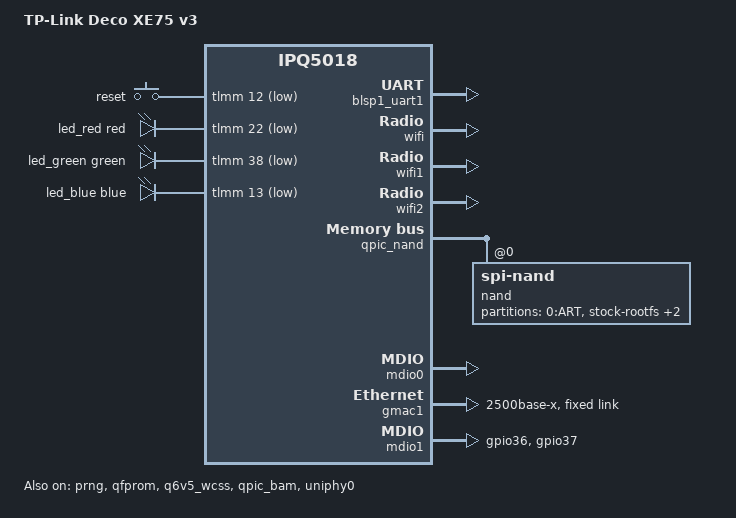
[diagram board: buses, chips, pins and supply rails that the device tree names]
// SPDX-License-Identifier: GPL-2.0-or-later OR MIT

/dts-v1/;

#include "ipq5018.dtsi"
#include "ipq5018-ess.dtsi"
#include "ipq5018-qcn6122.dtsi"

#include <dt-bindings/gpio/gpio.h>
#include <dt-bindings/input/input.h>
#include <dt-bindings/leds/common.h>

/ {
	model = "TP-Link Deco XE75 v3";
	compatible = "tplink,deco-xe75-v3", "qcom,ipq5018";

	aliases {
		serial0 = &blsp1_uart1;
		led-boot = &led_blue;
		led-failsafe = &led_red;
		led-running = &led_green;
		led-upgrade = &led_red;
	};

	chosen {
		stdout-path = "serial0:115200n8";
		bootargs-append = " coherent_pool=2M";
	};

	keys {
		compatible = "gpio-keys";
		pinctrl-0 = <&button_pins>;
		pinctrl-names = "default";

		button-reset {
			label = "reset";
			gpios = <&tlmm 12 GPIO_ACTIVE_LOW>;
			linux,code = <KEY_RESTART>;
		};
	};

	leds {
		compatible = "gpio-leds";
		pinctrl-0 = <&led_pins>;
		pinctrl-names = "default";

		led_red: led-red {
			function = LED_FUNCTION_STATUS;
			color = <LED_COLOR_ID_RED>;
			gpios = <&tlmm 22 GPIO_ACTIVE_LOW>;
		};

		led_green: led-green {
			color = <LED_COLOR_ID_GREEN>;
			function = LED_FUNCTION_POWER;
			gpios = <&tlmm 38 GPIO_ACTIVE_LOW>;
			default-state = "on";
		};

		led_blue: led-blue {
			function = LED_FUNCTION_STATUS;
			color = <LED_COLOR_ID_BLUE>;
			gpios = <&tlmm 13 GPIO_ACTIVE_LOW>;
		};
	};
};

&sleep_clk {
	clock-frequency = <32000>;
};

&xo_board_clk {
	clock-div = <4>;
	clock-mult = <1>;
};

&blsp1_uart1 {
	status = "okay";
};

&prng {
	status = "okay";
};

&qfprom {
	status = "okay";
};

&q6_region {
	reg = <0x0 0x4b000000 0x0 0x4d00000>;
};

&q6v5_wcss {
	status = "okay";
};

&wifi {
	status = "okay";
	qcom,rproc = <&q6_wcss_pd1>;
	qcom,ath11k-calibration-variant = "TP-Link-Deco-XE75-v3";
	qcom,ath11k-fw-memory-mode = <1>;
	qcom,bdf-addr = <0x4c400000>;
};

/* The first external radio is 5 GHz, served by firmware user domain 3. */
&wifi1 {
	status = "okay";

	qcom,rproc = <&q6_wcss_pd3>;
	qcom,userpd-subsys-name = "q6v5_wcss_userpd3";
	qcom,ath11k-calibration-variant = "TP-Link-Deco-XE75-v3-5G";
	qcom,ath11k-fw-memory-mode = <1>;
	qcom,bdf-addr = <0x4d200000>;
	qcom,m3-dump-addr = <0x4df00000>;
};

/* The second external radio is 6 GHz, served by firmware user domain 2. */
&wifi2 {
	status = "okay";

	qcom,rproc = <&q6_wcss_pd2>;
	qcom,userpd-subsys-name = "q6v5_wcss_userpd2";
	qcom,ath11k-calibration-variant = "TP-Link-Deco-XE75-v3-6G";
	qcom,ath11k-fw-memory-mode = <1>;
	qcom,bdf-addr = <0x4e500000>;
	qcom,m3-dump-addr = <0x4f200000>;
};

/* Factory provisioning only. No environment or writeable flash is exposed. */
&qpic_bam {
	status = "okay";
};

&qpic_nand {
	status = "okay";

	nand@0 {
		compatible = "spi-nand";
		reg = <0>;
		nand-ecc-engine = <&qpic_nand>;
		nand-ecc-strength = <4>;
		nand-ecc-step-size = <512>;
		nand-bus-width = <8>;

		partitions {
			compatible = "fixed-partitions";
			#address-cells = <1>;
			#size-cells = <1>;

			partition@4c0000 {
				label = "0:ART";
				reg = <0x4c0000 0x100000>;
				read-only;
			};

			partition@640000 {
				label = "stock-rootfs";
				reg = <0x640000 0x2a00000>;
				read-only;
			};

			partition@3040000 {
				label = "stock-rootfs_1";
				reg = <0x3040000 0x2a00000>;
				read-only;
			};

			partition@5ac0000 {
				label = "factory_data";
				reg = <0x5ac0000 0x900000>;
				read-only;
			};
		};
	};
};

/*
 * mdio0 must remain enabled even though gmac0 and the internal GE PHY are
 * unused. On IPQ5018 its reset path also gates the MDC/MDIO path used by mdio1.
 */
&mdio0 {
	status = "okay";
};

&uniphy0 {
	status = "okay";

	assigned-clocks = <&uniphy0 UNIPHY_CLK_REF>;
	assigned-clock-rates = <UNIPHY_REFCLK_50MHZ>;
};

&gmac1 {
	/*
	 * The RTL8367D has no matching DSA driver yet. Do not reset it:
	 * RAM-boot Ethernet experiments depend on U-Boot initialization.
	 * This fixed link describes only the SoC-to-switch connection.
	 */
	status = "okay";
	label = "lan";
	phy-mode = "2500base-x";

	fixed-link {
		speed = <2500>;
		full-duplex;
	};
};

&mdio1 {
	status = "okay";
	pinctrl-0 = <&mdio1_pins>;
	pinctrl-names = "default";
};

&tlmm {
	button_pins: button-state {
		pins = "gpio12";
		function = "gpio";
		drive-strength = <8>;
		bias-pull-up;
	};

	led_pins: led-state {
		pins = "gpio13", "gpio22", "gpio38";
		function = "gpio";
		drive-strength = <2>;
		bias-disable;
	};

	mdio1_pins: mdio1-state {
		mdc-pins {
			pins = "gpio36";
			function = "mdc";
			drive-strength = <8>;
			bias-pull-up;
		};

		mdio-pins {
			pins = "gpio37";
			function = "mdio";
			drive-strength = <8>;
			bias-pull-up;
		};
	};
};
